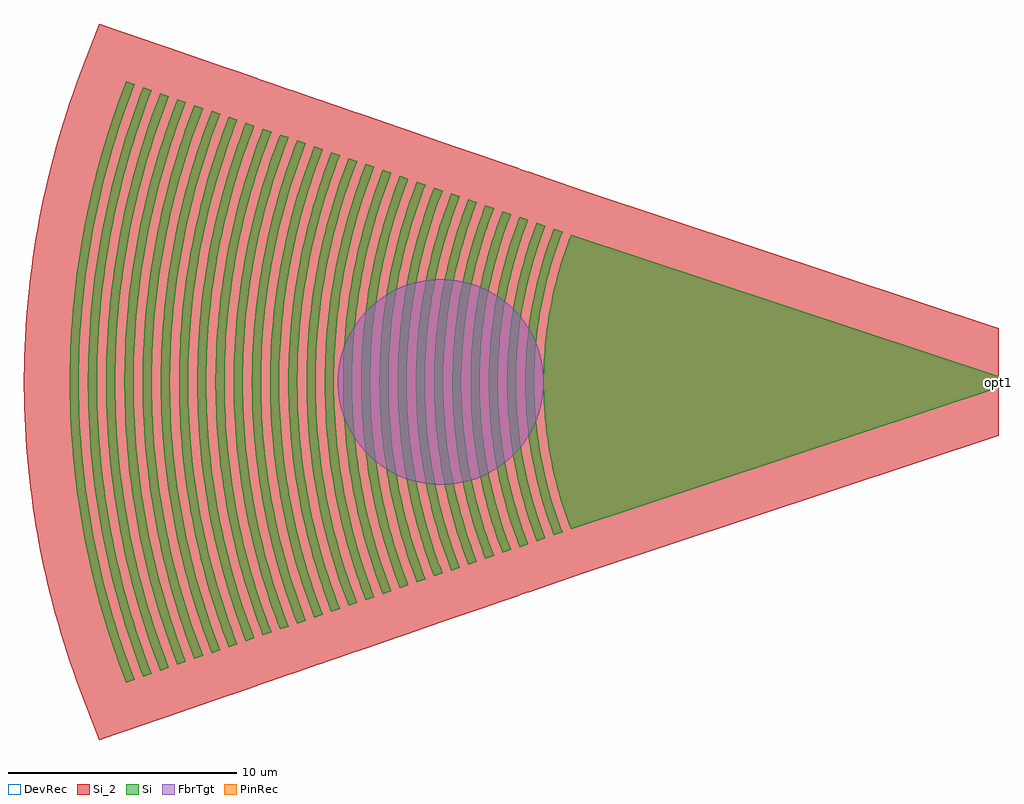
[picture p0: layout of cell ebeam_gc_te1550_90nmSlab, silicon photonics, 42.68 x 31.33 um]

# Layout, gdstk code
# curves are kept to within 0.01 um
import gdstk
lib = gdstk.Library(unit=1e-6, precision=1e-09)
def R(c, l, rs):  # rectangles x0, y0, x1, y1
    for r in rs: c.add(gdstk.rectangle(r[:2], r[2:], *l))
def P(c, l, *ps):  # polygons
    for p in ps: c.add(gdstk.Polygon(p, *l))
Si = (1, 0)
Si_2 = (1, 2)
PinRec = (1, 10)
DevRec = (68, 0)
FbrTgt = (81, 0)

ebeam_gc_te1550_90nmslab = lib.new_cell('ebeam_gc_te1550_90nmSlab')
R(ebeam_gc_te1550_90nmslab, Si, [(-0.001,-0.001,0.001,0.001)])
P(ebeam_gc_te1550_90nmslab, Si, [(-26.194,-9.019),(-26.58,-7.955),(-26.917,-6.873),(-27.205,-5.775),(-27.443,-4.664),(-27.631,-3.543),(-27.767,-2.414),(-27.851,-1.28),(-27.884,-0.142),(-27.864,0.996),(-27.793,2.131),(-27.67,3.262),(-27.495,4.385),(-27.27,5.499),(-26.994,6.6),(-26.669,7.686),(-26.194,9.019),(-25.818,8.89),(-26.198,7.841),(-26.531,6.774),(-26.816,5.692),(-27.051,4.598),(-27.236,3.493),(-27.37,2.38),(-27.453,1.261),(-27.485,0.14),(-27.466,-0.981),(-27.396,-2.101),(-27.274,-3.215),(-27.102,-4.322),(-26.879,-5.42),(-26.607,-6.505),(-26.286,-7.576),(-25.818,-8.89)],
  [(-26.943,-9.277),(-27.339,-8.182),(-27.686,-7.069),(-27.983,-5.94),(-28.228,-4.798),(-28.42,-3.645),(-28.56,-2.483),(-28.647,-1.316),(-28.68,-0.146),(-28.66,1.024),(-28.587,2.192),(-28.46,3.355),(-28.228,4.798),(-27.983,5.94),(-27.686,7.069),(-27.339,8.182),(-26.943,9.277),(-26.566,9.147),(-26.958,8.068),(-27.3,6.971),(-27.593,5.857),(-27.835,4.731),(-28.025,3.594),(-28.163,2.449),(-28.249,1.298),(-28.282,0.144),(-28.262,-1.01),(-28.19,-2.161),(-28.065,-3.308),(-27.835,-4.731),(-27.593,-5.857),(-27.3,-6.971),(-26.958,-8.068),(-26.566,-9.147)],
  [(-27.691,-9.535),(-28.099,-8.41),(-28.455,-7.265),(-28.76,-6.105),(-29.012,-4.931),(-29.21,-3.746),(-29.353,-2.552),(-29.443,-1.353),(-29.477,-0.15),(-29.456,1.052),(-29.381,2.253),(-29.323,2.851),(-29.21,3.746),(-29.012,4.931),(-28.76,6.105),(-28.455,7.265),(-28.099,8.41),(-27.691,9.535),(-27.315,9.405),(-27.717,8.295),(-28.07,7.167),(-28.37,6.022),(-28.619,4.864),(-28.815,3.695),(-28.957,2.518),(-29.045,1.335),(-29.079,0.148),(-29.058,-1.038),(-28.984,-2.222),(-28.855,-3.401),(-28.673,-4.573),(-28.437,-5.734),(-28.3,-6.31),(-28.07,-7.167),(-27.717,-8.295),(-27.315,-9.405)],
  [(-28.44,-9.793),(-28.858,-8.637),(-29.225,-7.462),(-29.537,-6.27),(-29.796,-5.064),(-29.999,-3.847),(-30.147,-2.621),(-30.238,-1.389),(-30.274,-0.154),(-30.253,1.081),(-30.175,2.314),(-30.041,3.541),(-29.852,4.761),(-29.607,5.97),(-29.388,6.868),(-29.225,7.462),(-28.858,8.637),(-28.44,9.793),(-28.063,9.663),(-28.477,8.523),(-28.839,7.363),(-29.148,6.187),(-29.403,4.998),(-29.604,3.796),(-29.75,2.587),(-29.841,1.371),(-29.875,0.152),(-29.854,-1.067),(-29.778,-2.283),(-29.646,-3.495),(-29.559,-4.098),(-29.403,-4.998),(-29.148,-6.187),(-28.839,-7.363),(-28.477,-8.523),(-28.063,-9.663)],
  [(-29.188,-10.05),(-29.618,-8.864),(-29.994,-7.658),(-30.315,-6.435),(-30.58,-5.198),(-30.789,-3.948),(-30.94,-2.69),(-31.034,-1.426),(-31.07,-0.159),(-31.049,1.109),(-30.969,2.375),(-30.872,3.32),(-30.789,3.948),(-30.58,5.198),(-30.315,6.435),(-29.994,7.658),(-29.618,8.864),(-29.188,10.05),(-28.811,9.921),(-29.236,8.75),(-29.608,7.56),(-29.925,6.352),(-30.187,5.131),(-30.393,3.898),(-30.543,2.656),(-30.636,1.408),(-30.672,0.156),(-30.651,-1.095),(-30.572,-2.344),(-30.436,-3.588),(-30.244,-4.823),(-29.996,-6.048),(-29.851,-6.656),(-29.608,-7.56),(-29.236,-8.75),(-28.811,-9.921)],
  [(-29.936,-10.308),(-30.377,-9.091),(-30.763,-7.855),(-31.092,-6.6),(-31.364,-5.331),(-31.578,-4.05),(-31.733,-2.759),(-31.83,-1.463),(-31.867,-0.163),(-31.845,1.138),(-31.763,2.435),(-31.622,3.728),(-31.423,5.012),(-31.235,5.967),(-31.092,6.6),(-30.763,7.855),(-30.377,9.091),(-29.936,10.308),(-29.56,10.178),(-29.996,8.977),(-30.377,7.756),(-30.702,6.517),(-30.971,5.264),(-31.183,3.999),(-31.337,2.725),(-31.432,1.444),(-31.469,0.161),(-31.447,-1.124),(-31.366,-2.405),(-31.227,-3.681),(-31.03,-4.949),(-30.775,-6.205),(-30.547,-7.139),(-30.377,-7.756),(-29.996,-8.977),(-29.56,-10.178)],
  [(-30.685,-10.566),(-31.137,-9.319),(-31.532,-8.051),(-31.869,-6.765),(-32.148,-5.464),(-32.367,-4.151),(-32.527,-2.828),(-32.626,-1.499),(-32.664,-0.167),(-32.641,1.166),(-32.557,2.496),(-32.413,3.821),(-32.209,5.137),(-31.944,6.441),(-31.622,7.731),(-31.438,8.37),(-31.137,9.319),(-30.685,10.566),(-30.308,10.436),(-30.755,9.204),(-31.146,7.952),(-31.48,6.682),(-31.755,5.397),(-31.972,4.1),(-32.13,2.794),(-32.228,1.481),(-32.265,0.165),(-32.243,-1.152),(-32.16,-2.466),(-32.017,-3.774),(-31.815,-5.074),(-31.554,-6.362),(-31.235,-7.636),(-30.858,-8.893),(-30.538,-9.823),(-30.308,-10.436)],
  [(-31.433,-10.823),(-31.896,-9.546),(-32.301,-8.247),(-32.647,-6.93),(-32.932,-5.597),(-33.157,-4.252),(-33.32,-2.897),(-33.421,-1.536),(-33.46,-0.171),(-33.437,1.195),(-33.351,2.557),(-33.204,3.914),(-32.994,5.262),(-32.724,6.598),(-32.393,7.92),(-32.003,9.223),(-31.786,9.867),(-31.433,10.823),(-31.057,10.694),(-31.514,9.432),(-31.915,8.149),(-32.257,6.847),(-32.539,5.531),(-32.762,4.201),(-32.923,2.863),(-33.024,1.517),(-33.062,0.169),(-33.039,-1.18),(-32.954,-2.527),(-32.808,-3.867),(-32.601,-5.199),(-32.406,-6.191),(-32.257,-6.847),(-31.915,-8.149),(-31.514,-9.432),(-31.057,-10.694)],
  [(-32.182,-11.081),(-32.655,-9.773),(-33.07,-8.444),(-33.424,-7.095),(-33.716,-5.731),(-33.946,-4.353),(-34.114,-2.966),(-34.217,-1.572),(-34.257,-0.175),(-34.233,1.223),(-34.145,2.618),(-33.994,4.007),(-33.78,5.387),(-33.503,6.755),(-33.341,7.434),(-33.07,8.444),(-32.655,9.773),(-32.182,11.081),(-31.805,10.951),(-32.274,9.659),(-32.684,8.345),(-33.034,7.012),(-33.324,5.664),(-33.551,4.303),(-33.717,2.932),(-33.819,1.554),(-33.859,0.173),(-33.835,-1.209),(-33.8,-1.899),(-33.717,-2.932),(-33.551,-4.303),(-33.324,-5.664),(-33.034,-7.012),(-32.684,-8.345),(-32.274,-9.659),(-31.805,-10.951)],
  [(-32.93,-11.339),(-33.415,-10),(-33.839,-8.64),(-34.201,-7.26),(-34.5,-5.864),(-34.736,-4.455),(-34.907,-3.035),(-35.013,-1.609),(-35.054,-0.179),(-35.029,1.252),(-34.939,2.679),(-34.785,4.1),(-34.565,5.513),(-34.282,6.912),(-34.028,7.952),(-33.839,8.64),(-33.415,10),(-32.93,11.339),(-32.553,11.209),(-33.033,9.886),(-33.453,8.541),(-33.811,7.177),(-34.108,5.797),(-34.341,4.404),(-34.51,3.001),(-34.615,1.59),(-34.655,0.177),(-34.643,-0.884),(-34.615,-1.59),(-34.51,-3.001),(-34.341,-4.404),(-34.108,-5.797),(-33.811,-7.177),(-33.453,-8.541),(-33.033,-9.886),(-32.553,-11.209)],
  [(-33.678,-11.596),(-34.174,-10.228),(-34.608,-8.836),(-34.978,-7.425),(-35.284,-5.997),(-35.525,-4.556),(-35.7,-3.104),(-35.809,-1.645),(-35.85,-0.183),(-35.825,1.28),(-35.734,2.74),(-35.575,4.194),(-35.351,5.638),(-35.061,7.07),(-34.707,8.485),(-34.289,9.882),(-33.934,10.915),(-33.678,11.596),(-33.302,11.467),(-33.793,10.114),(-34.222,8.738),(-34.589,7.342),(-34.892,5.93),(-35.13,4.505),(-35.303,3.07),(-35.411,1.627),(-35.452,0.181),(-35.44,-0.904),(-35.411,-1.627),(-35.303,-3.07),(-35.13,-4.505),(-34.892,-5.93),(-34.589,-7.342),(-34.222,-8.738),(-33.793,-10.114),(-33.302,-11.467)],
  [(-34.427,-11.854),(-34.934,-10.455),(-35.377,-9.033),(-35.756,-7.59),(-36.069,-6.13),(-36.315,-4.657),(-36.494,-3.173),(-36.604,-1.682),(-36.647,-0.187),(-36.622,1.308),(-36.583,2.055),(-36.494,3.173),(-36.315,4.657),(-36.069,6.13),(-35.756,7.59),(-35.377,9.033),(-34.934,10.455),(-34.427,11.854),(-34.05,11.724),(-34.552,10.341),(-34.991,8.934),(-35.366,7.507),(-35.676,6.064),(-35.92,4.606),(-36.097,3.139),(-36.207,1.664),(-36.249,0.185),(-36.245,-0.555),(-36.207,-1.664),(-36.097,-3.139),(-35.92,-4.606),(-35.676,-6.064),(-35.366,-7.507),(-34.991,-8.934),(-34.552,-10.341),(-34.05,-11.724)],
  [(-35.175,-12.112),(-35.693,-10.682),(-36.146,-9.229),(-36.533,-7.755),(-36.853,-6.264),(-37.104,-4.758),(-37.287,-3.242),(-37.4,-1.718),(-37.444,-0.191),(-37.418,1.337),(-37.322,2.862),(-37.248,3.622),(-37.104,4.758),(-36.853,6.264),(-36.533,7.755),(-36.146,9.229),(-35.693,10.682),(-35.175,12.112),(-34.799,11.982),(-35.312,10.568),(-35.76,9.13),(-36.143,7.672),(-36.46,6.197),(-36.709,4.708),(-36.89,3.207),(-37.002,1.7),(-37.045,0.189),(-37.033,-0.945),(-36.955,-2.455),(-36.808,-3.959),(-36.653,-5.081),(-36.529,-5.826),(-36.31,-6.937),(-35.96,-8.404),(-35.654,-9.492),(-35.43,-10.211),(-35.063,-11.278),(-34.799,-11.982)],
  [(-35.924,-12.37),(-36.453,-10.91),(-36.915,-9.425),(-37.31,-7.92),(-37.637,-6.397),(-37.894,-4.859),(-38.08,-3.311),(-38.196,-1.755),(-38.24,-0.195),(-38.214,1.365),(-38.116,2.923),(-37.947,4.473),(-37.708,6.014),(-37.398,7.541),(-37.02,9.051),(-36.806,9.799),(-36.453,10.91),(-35.924,12.37),(-35.547,12.24),(-36.071,10.795),(-36.529,9.327),(-36.921,7.837),(-37.244,6.33),(-37.499,4.809),(-37.683,3.276),(-37.798,1.737),(-37.842,0.193),(-37.816,-1.351),(-37.749,-2.507),(-37.6,-4.044),(-37.441,-5.19),(-37.17,-6.708),(-36.921,-7.837),(-36.733,-8.585),(-36.421,-9.696),(-36.192,-10.43),(-35.946,-11.159),(-35.547,-12.24)],
  [(-36.672,-12.627),(-37.212,-11.137),(-37.684,-9.622),(-38.088,-8.085),(-38.421,-6.53),(-38.683,-4.961),(-38.874,-3.38),(-38.992,-1.792),(-39.037,-0.199),(-39.024,0.996),(-38.992,1.792),(-38.874,3.38),(-38.683,4.961),(-38.421,6.53),(-38.088,8.085),(-37.684,9.622),(-37.212,11.137),(-36.672,12.627),(-36.295,12.498),(-36.703,11.394),(-36.954,10.65),(-37.405,9.145),(-37.605,8.384),(-37.872,7.235),(-38.1,6.076),(-38.23,5.3),(-38.391,4.129),(-38.513,2.953),(-38.594,1.773),(-38.639,0.197),(-38.612,-1.379),(-38.544,-2.56),(-38.436,-3.737),(-38.23,-5.3),(-38.1,-6.076),(-37.872,-7.235),(-37.605,-8.384),(-37.405,-9.145),(-36.954,-10.65),(-36.703,-11.394),(-36.295,-12.498)],
  [(-37.42,-12.885),(-37.971,-11.364),(-38.453,-9.818),(-38.865,-8.25),(-39.205,-6.664),(-39.473,-5.062),(-39.667,-3.449),(-39.787,-1.828),(-39.834,-0.203),(-39.806,1.422),(-39.704,3.044),(-39.528,4.66),(-39.279,6.264),(-38.957,7.855),(-38.563,9.428),(-38.098,10.98),(-37.84,11.747),(-37.42,12.885),(-37.044,12.755),(-37.46,11.629),(-37.716,10.87),(-38.067,9.72),(-38.28,8.946),(-38.653,7.384),(-38.812,6.597),(-39.018,5.409),(-39.183,4.214),(-39.307,3.014),(-39.408,1.408),(-39.435,0.201),(-39.422,-1.006),(-39.339,-2.613),(-39.229,-3.815),(-39.018,-5.409),(-38.735,-6.991),(-38.566,-7.776),(-38.28,-8.946),(-38.067,-9.72),(-37.716,-10.87),(-37.46,-11.629),(-37.044,-12.755)],
  [(-38.169,-13.143),(-38.731,-11.591),(-38.986,-10.806),(-39.222,-10.014),(-39.642,-8.415),(-39.989,-6.797),(-40.262,-5.163),(-40.46,-3.518),(-40.583,-1.865),(-40.631,-0.207),(-40.602,1.451),(-40.56,2.279),(-40.498,3.105),(-40.319,4.753),(-40.135,5.982),(-39.989,6.797),(-39.642,8.415),(-39.222,10.014),(-38.986,10.806),(-38.731,11.591),(-38.169,13.143),(-37.792,13.013),(-38.079,12.249),(-38.478,11.089),(-38.947,9.522),(-39.253,8.332),(-39.434,7.533),(-39.671,6.327),(-39.806,5.518),(-40.021,3.892),(-40.134,2.666),(-40.204,1.436),(-40.232,0.205),(-40.218,-1.026),(-40.134,-2.666),(-40.021,-3.892),(-39.806,-5.518),(-39.671,-6.327),(-39.434,-7.533),(-39.253,-8.332),(-38.947,-9.522),(-38.478,-11.089),(-38.079,-12.249),(-37.792,-13.013)],
  [(-18.71,-6.442),(-18.986,-5.682),(-19.227,-4.909),(-19.432,-4.125),(-19.602,-3.332),(-19.736,-2.531),(-19.833,-1.724),(-19.894,-0.914),(-19.917,-0.102),(-19.903,0.711),(-19.852,1.522),(-19.764,2.33),(-19.639,3.132),(-19.478,3.928),(-19.227,4.909),(-18.986,5.682),(-18.71,6.442),(0,0.25),(0,-0.25)],
  [(-19.459,-6.7),(-19.745,-5.909),(-19.996,-5.105),(-20.21,-4.29),(-20.387,-3.465),(-20.526,-2.632),(-20.627,-1.793),(-20.689,-0.951),(-20.714,-0.106),(-20.699,0.74),(-20.627,1.793),(-20.526,2.632),(-20.387,3.465),(-20.21,4.29),(-19.996,5.105),(-19.745,5.909),(-19.459,6.7),(-19.082,6.57),(-19.364,5.795),(-19.61,5.007),(-19.82,4.207),(-19.994,3.398),(-20.131,2.582),(-20.23,1.759),(-20.292,0.932),(-20.315,0.104),(-20.301,-0.725),(-20.249,-1.553),(-20.159,-2.376),(-20.032,-3.195),(-19.867,-4.006),(-19.61,-5.007),(-19.364,-5.795),(-19.082,-6.57)],
  [(-20.207,-6.958),(-20.505,-6.137),(-20.765,-5.302),(-20.987,-4.455),(-21.171,-3.598),(-21.315,-2.733),(-21.42,-1.862),(-21.485,-0.987),(-21.51,-0.11),(-21.495,0.768),(-21.44,1.644),(-21.345,2.516),(-21.171,3.598),(-20.987,4.455),(-20.765,5.302),(-20.505,6.137),(-20.207,6.958),(-19.83,6.828),(-20.123,6.022),(-20.379,5.203),(-20.597,4.372),(-20.778,3.532),(-20.92,2.683),(-21.023,1.828),(-21.087,0.969),(-21.112,0.108),(-21.097,-0.754),(-21.043,-1.613),(-20.95,-2.47),(-20.778,-3.532),(-20.597,-4.372),(-20.379,-5.203),(-20.123,-6.022),(-19.83,-6.828)],
  [(-20.955,-7.216),(-21.264,-6.364),(-21.534,-5.498),(-21.764,-4.62),(-21.955,-3.732),(-22.105,-2.835),(-22.213,-1.931),(-22.281,-1.024),(-22.307,-0.114),(-22.291,0.796),(-22.234,1.705),(-22.105,2.835),(-21.955,3.732),(-21.764,4.62),(-21.534,5.498),(-21.264,6.364),(-20.955,7.216),(-20.579,7.086),(-20.882,6.25),(-21.148,5.4),(-21.375,4.537),(-21.562,3.665),(-21.71,2.784),(-21.817,1.897),(-21.883,1.005),(-21.909,0.112),(-21.893,-0.782),(-21.837,-1.674),(-21.74,-2.563),(-21.603,-3.445),(-21.375,-4.537),(-21.148,-5.4),(-20.882,-6.25),(-20.579,-7.086)],
  [(-21.704,-7.473),(-22.023,-6.591),(-22.303,-5.695),(-22.542,-4.785),(-22.739,-3.865),(-22.894,-2.936),(-23.007,-2),(-23.077,-1.06),(-23.104,-0.118),(-23.087,0.825),(-23.028,1.766),(-22.926,2.703),(-22.782,3.633),(-22.542,4.785),(-22.303,5.695),(-22.023,6.591),(-21.704,7.473),(-21.327,7.344),(-21.642,6.477),(-21.917,5.596),(-22.152,4.702),(-22.346,3.798),(-22.499,2.885),(-22.61,1.966),(-22.679,1.042),(-22.705,0.116),(-22.689,-0.811),(-22.631,-1.735),(-22.531,-2.656),(-22.388,-3.571),(-22.204,-4.477),(-21.98,-5.374),(-21.642,-6.477),(-21.327,-7.344)],
  [(-22.452,-7.731),(-22.783,-6.819),(-23.072,-5.891),(-23.319,-4.95),(-23.523,-3.998),(-23.684,-3.037),(-23.8,-2.069),(-23.872,-1.097),(-23.9,-0.122),(-23.884,0.853),(-23.8,2.069),(-23.684,3.037),(-23.523,3.998),(-23.319,4.95),(-23.072,5.891),(-22.783,6.819),(-22.452,7.731),(-22.076,7.601),(-22.401,6.704),(-22.686,5.792),(-22.929,4.867),(-23.13,3.931),(-23.288,2.986),(-23.403,2.035),(-23.475,1.079),(-23.502,0.12),(-23.486,-0.839),(-23.425,-1.796),(-23.321,-2.749),(-23.174,-3.696),(-22.984,-4.634),(-22.751,-5.562),(-22.476,-6.478),(-22.076,-7.601)],
  [(-23.201,-7.989),(-23.542,-7.046),(-23.841,-6.087),(-24.096,-5.115),(-24.307,-4.131),(-24.473,-3.138),(-24.593,-2.138),(-24.668,-1.133),(-24.697,-0.126),(-24.68,0.882),(-24.616,1.887),(-24.507,2.889),(-24.353,3.884),(-24.153,4.87),(-23.909,5.845),(-23.621,6.808),(-23.201,7.989),(-22.824,7.859),(-23.161,6.932),(-23.455,5.989),(-23.707,5.032),(-23.914,4.065),(-24.078,3.088),(-24.197,2.104),(-24.27,1.115),(-24.299,0.124),(-24.282,-0.868),(-24.197,-2.104),(-24.078,-3.088),(-23.914,-4.065),(-23.707,-5.032),(-23.455,-5.989),(-23.161,-6.932),(-22.824,-7.859)],
  [(-23.949,-8.246),(-24.302,-7.273),(-24.61,-6.284),(-24.874,-5.28),(-25.091,-4.265),(-25.262,-3.24),(-25.387,-2.207),(-25.464,-1.17),(-25.494,-0.13),(-25.476,0.91),(-25.411,1.948),(-25.298,2.982),(-25.091,4.265),(-24.874,5.28),(-24.61,6.284),(-24.302,7.273),(-23.949,8.246),(-23.572,8.117),(-23.92,7.159),(-24.224,6.185),(-24.484,5.197),(-24.698,4.198),(-24.867,3.189),(-24.99,2.173),(-25.066,1.152),(-25.095,0.128),(-25.078,-0.896),(-25.013,-1.918),(-24.902,-2.936),(-24.745,-3.946),(-24.542,-4.948),(-24.224,-6.185),(-23.92,-7.159),(-23.572,-8.117)],
  [(-24.698,-8.504),(-25.061,-7.5),(-25.379,-6.48),(-25.651,-5.445),(-25.875,-4.398),(-26.052,-3.341),(-26.18,-2.276),(-26.26,-1.207),(-26.29,-0.134),(-26.272,0.939),(-26.205,2.009),(-26.088,3.075),(-25.924,4.134),(-25.651,5.445),(-25.379,6.48),(-25.061,7.5),(-24.698,8.504),(-24.321,8.374),(-24.68,7.386),(-24.993,6.381),(-25.261,5.362),(-25.483,4.331),(-25.657,3.29),(-25.783,2.242),(-25.862,1.188),(-25.892,0.132),(-25.874,-0.924),(-25.807,-1.979),(-25.693,-3.029),(-25.531,-4.072),(-25.321,-5.106),(-25.065,-6.128),(-24.68,-7.386),(-24.321,-8.374)],
  [(-25.446,-8.762),(-25.821,-7.728),(-26.148,-6.676),(-26.428,-5.61),(-26.659,-4.531),(-26.841,-3.442),(-26.973,-2.345),(-27.055,-1.243),(-27.087,-0.138),(-27.068,0.967),(-26.999,2.07),(-26.879,3.169),(-26.71,4.26),(-26.491,5.341),(-26.223,6.411),(-25.821,7.728),(-25.446,8.762),(-25.069,8.632),(-25.439,7.613),(-25.762,6.578),(-26.038,5.527),(-26.267,4.464),(-26.446,3.391),(-26.577,2.311),(-26.658,1.225),(-26.689,0.136),(-26.67,-0.953),(-26.602,-2.04),(-26.446,-3.391),(-26.267,-4.464),(-26.038,-5.527),(-25.762,-6.578),(-25.439,-7.613),(-25.069,-8.632)])
P(ebeam_gc_te1550_90nmslab, Si_2, [(-39.349,-15.665),(-40.339,-13.051),(-40.627,-12.228),(-40.895,-11.401),(-41.373,-9.734),(-41.781,-8.026),(-42.108,-6.313),(-42.302,-5.014),(-42.406,-4.147),(-42.491,-3.276),(-42.556,-2.404),(-42.615,-1.103),(-42.631,-0.219),(-42.626,0.658),(-42.581,1.957),(-42.452,3.701),(-42.302,5.014),(-42.177,5.879),(-41.954,7.171),(-41.781,8.026),(-41.378,9.715),(-40.895,11.401),(-40.627,12.228),(-40.339,13.051),(-39.349,15.665),(-18.03,8.323),(0,2.356),(0,-2.356),(-18.03,-8.323)])
P(ebeam_gc_te1550_90nmslab, DevRec, [(-39.349,-15.665),(-40.339,-13.051),(-40.627,-12.228),(-40.895,-11.401),(-41.373,-9.734),(-41.781,-8.026),(-42.108,-6.313),(-42.302,-5.014),(-42.406,-4.147),(-42.491,-3.276),(-42.556,-2.404),(-42.615,-1.103),(-42.631,-0.219),(-42.626,0.658),(-42.581,1.957),(-42.452,3.701),(-42.302,5.014),(-42.177,5.879),(-41.954,7.171),(-41.781,8.026),(-41.378,9.715),(-40.895,11.401),(-40.627,12.228),(-40.339,13.051),(-39.349,15.665),(-18.03,8.323),(0,2.356),(0,-2.356),(-18.03,-8.323)])
P(ebeam_gc_te1550_90nmslab, FbrTgt, [(-24.621,-4.5),(-25.061,-4.457),(-25.495,-4.37),(-25.918,-4.242),(-26.326,-4.073),(-26.716,-3.864),(-27.084,-3.619),(-27.426,-3.338),(-27.738,-3.026),(-28.019,-2.684),(-28.264,-2.316),(-28.473,-1.926),(-28.642,-1.518),(-28.77,-1.095),(-28.857,-0.661),(-28.9,-0.221),(-28.9,0.221),(-28.857,0.661),(-28.77,1.095),(-28.642,1.518),(-28.473,1.926),(-28.264,2.316),(-28.019,2.684),(-27.738,3.026),(-27.426,3.338),(-27.084,3.619),(-26.716,3.864),(-26.326,4.073),(-25.918,4.242),(-25.495,4.37),(-25.061,4.457),(-24.621,4.5),(-24.179,4.5),(-23.739,4.457),(-23.305,4.37),(-22.882,4.242),(-22.474,4.073),(-22.084,3.864),(-21.716,3.619),(-21.374,3.338),(-21.062,3.026),(-20.781,2.684),(-20.536,2.316),(-20.327,1.926),(-20.158,1.518),(-20.03,1.095),(-19.943,0.661),(-19.9,0.221),(-19.9,-0.221),(-19.943,-0.661),(-20.03,-1.095),(-20.158,-1.518),(-20.327,-1.926),(-20.536,-2.316),(-20.781,-2.684),(-21.062,-3.026),(-21.374,-3.338),(-21.716,-3.619),(-22.084,-3.864),(-22.474,-4.073),(-22.882,-4.242),(-23.305,-4.37),(-23.739,-4.457),(-24.179,-4.5)])
ebeam_gc_te1550_90nmslab.add(gdstk.FlexPath([(-0.05,0),(0.05,0)], 0.5, ends="flush", simple_path=True, layer=1, datatype=10))  # PinRec
ebeam_gc_te1550_90nmslab.add(gdstk.Label('opt1', (0,0), layer=1, texttype=10))

lib.write_gds('ebeam_gc_te1550_90nmSlab.gds')
